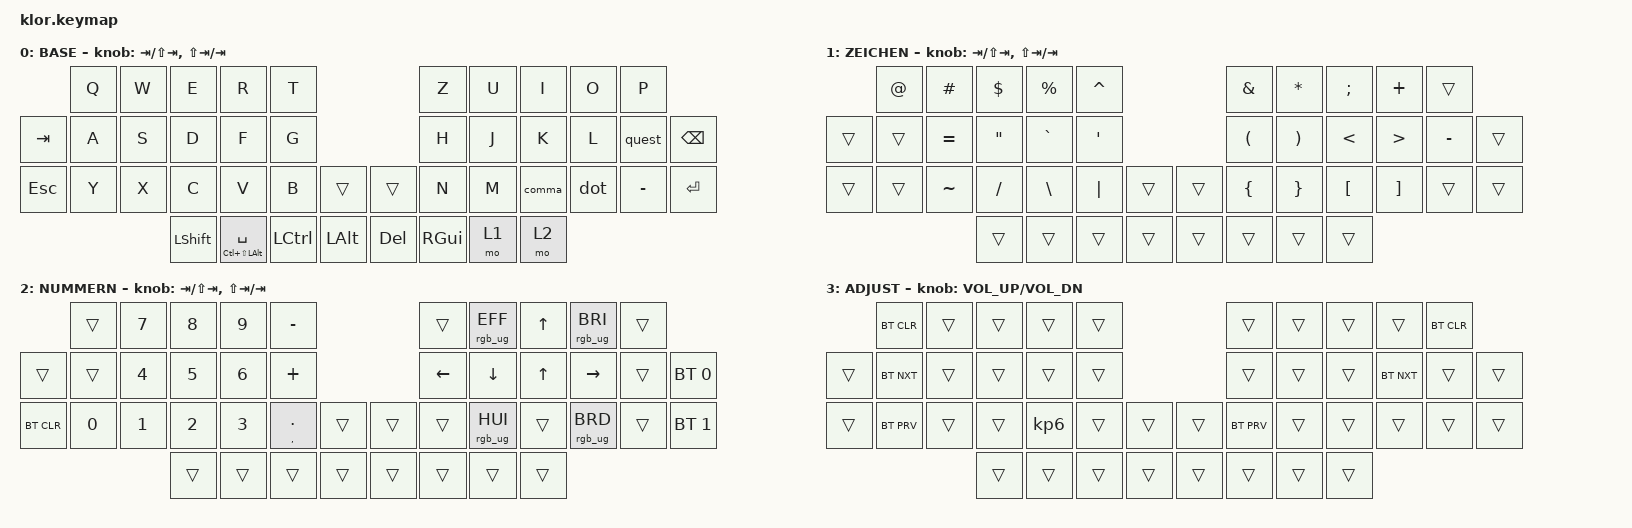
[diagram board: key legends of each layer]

//                               █         █    █            ▄▄▄▀▀▀▀▀▀▄▄▄        █▀▀▀▀▀▀▀▀▀▀█
//                               █        █     █          ▄▀            ▀▄      █          █
//                               █       █      █        ▄▀                ▀▄    █          █
//                               █      █       █        █                  █    █          █
//                               █     █        █       █                    █   █          █
//                               █    █         █       █                    █   █▄▄▄▄▄▄▄▄▄▄█
//                               █   █ █        █       █                    █   █      █
//                               █  █   █       █        █                  █    █       █
//                               █ █     █      █        ▀▄                ▄▀    █        █
//                               ██       █     █          ▀▄            ▄▀      █         █
//                               █         █    █▄▄▄▄▄▄▄▄    ▀▀▀▄▄▄▄▄▄▀▀▀        █          █
//
// ▄▄▄▄▄▄▄▄▄▄▄▄▄▄▄▄▄▄▄▄▄▄▄▄▄▄▄▄▄▄▄▄▄▄▄▄▄▄▄▄▄▄▄▄▄▄▄▄▄▄▄▄▄▄▄▄▄▄▄▄▄▄▄▄▄▄▄▄▄▄▄▄▄▄▄▄▄▄▄▄▄▄▄▄▄▄▄▄▄▄▄▄▄▄▄▄▄▄▄▄▄▄▄▄▄▄▄▄▄▄▄▄▄▄▄▄▄▄▄▄▄▄▄▄▄
       
#include <behaviors.dtsi>
#include <dt-bindings/zmk/keys.h>
#include <dt-bindings/zmk/bt.h>
#include <dt-bindings/zmk/outputs.h>
#include <dt-bindings/zmk/ext_power.h>
#include <dt-bindings/zmk/rgb.h>


#define BASE   0
#define LOWER  1
#define RAISE  2
#define ADJUST 3


/ {
    behaviors {
               hm: homerow_mods {
            compatible = "zmk,behavior-hold-tap";
            label = "HOMEROW_MODS";
            #binding-cells = <2>;
            tapping-term-ms = <320>;
            quick-tap-ms = <0>;
            flavor = "tap-preferred";
            bindings = <&kp>, <&kp>;
        };
       comma: comma_semi {
            compatible = "zmk,behavior-mod-morph";
            label = "comma_semi";
            #binding-cells = <0>;
            bindings = <&kp COMMA>, <&kp SEMI>;
            mods = <(MOD_LSFT)>;
        };

        dot: dot_colon {
            compatible = "zmk,behavior-mod-morph";
            label = "dot_colon";
            #binding-cells = <0>;
            bindings = <&kp DOT>, <&kp COLON>;
            mods = <(MOD_LSFT)>;
        };

        quest: question_excl {
            compatible = "zmk,behavior-mod-morph";
            label = "question_excl";
            #binding-cells = <0>;
            bindings = <&kp QUESTION>, <&kp EXCL>;
            mods = <(MOD_LSFT)>;
        };

        ctlalt: control_alt {
            compatible = "zmk,behavior-mod-morph";
            label = "control_alt";
            #binding-cells = <0>;
            bindings = <&kp LEFT_CONTROL>, <&kp LEFT_ALT>;
            mods = <(MOD_RGUI)>;
        };

    };

     combos {
            compatible = "zmk,combos";
            combo_esc {
                timeout-ms = <50>;
                key-positions = <0 1>;
                bindings = <&kp ESC>;
            };
        
    };





        keymap {
                compatible = "zmk,keymap";
// ▄▄▄▄▄▄▄▄▄▄▄▄▄▄▄▄▄▄▄▄▄▄▄▄▄▄▄▄▄▄▄▄▄▄▄▄▄▄▄▄▄▄▄▄▄▄▄▄▄▄▄▄▄▄▄▄▄▄▄▄▄▄▄▄▄▄▄▄▄▄▄▄▄▄▄▄▄▄▄▄▄▄▄▄▄▄▄▄▄▄▄▄▄▄▄▄▄▄▄▄▄▄▄▄▄▄▄▄▄▄▄▄▄▄▄▄▄▄▄▄▄▄▄▄▄▄▄▄▄▄▄▄▄▄▄▄▄▄▄▄▄▄


                base_layer {
// ┌───────────────────────────────────────────────────────────┐
label= "BASE"                                                  ;
// └───────────────────────────────────────────────────────────┘

 bindings = <
 //╷         ╷         ╷         ╷         ╷                       ╷                       ╷           ╷╷         ╷            ╷             ╷         ╷          ╷          ╷         ╷
              &kp Q     &kp W     &kp E     &kp R                   &kp T                                          &kp Z        &kp U         &kp I     &kp O      &kp P
    &kp TAB   &kp A     &kp S     &kp D     &kp F                   &kp G                                          &kp H        &kp J         &kp K     &kp L      &quest     &kp BSPC
    &kp ESC   &kp Y     &kp X     &kp C     &kp V                   &kp B                   &trans       &trans    &kp N        &kp M         &comma    &dot       &kp MINUS  &kp RET
                                  &kp LSHFT &hm LC(LS(LALT)) SPACE  &kp LCTRL               &kp LALT     &kp DEL   &kp RGUI     &mo 1         &mo 2     
                        >;
            sensor-bindings = <&inc_dec_kp TAB LS(TAB) &inc_dec_kp LS(TAB) TAB>;
                };

// ▄▄▄▄▄▄▄▄▄▄▄▄▄▄▄▄▄▄▄▄▄▄▄▄▄▄▄▄▄▄▄▄▄▄▄▄▄▄▄▄▄▄▄▄▄▄▄▄▄▄▄▄▄▄▄▄▄▄▄▄▄▄▄▄▄▄▄▄▄▄▄▄▄▄▄▄▄▄▄▄▄▄▄▄▄▄▄▄▄▄▄▄▄▄▄▄▄▄▄▄▄▄▄▄▄▄▄▄▄▄▄▄▄▄▄▄▄▄▄▄▄▄▄▄▄▄▄▄▄▄▄▄▄▄▄▄▄▄▄▄▄▄


                signs_layer {
// ┌───────────────────────────────────────────────────────────┐
label= "ZEICHEN"                                                 ;
// └───────────────────────────────────────────────────────────┘

 bindings = <
 //╷        ╷            ╷          ╷           ╷             ╷            ╷        ╷╷         ╷         ╷         ╷         ╷         ╷         ╷         ╷
             &kp AT_SIGN  &kp HASH   &kp DOLLAR  &kp PERCENT   &kp CARET                        &kp AMPS  &kp STAR  &kp SEMI  &kp PLUS  &trans
    &trans   &trans       &kp EQUAL  &kp DQT     &kp GRAVE     &kp SQT                          &kp LPAR  &kp RPAR  &kp LT    &kp GT    &kp MINUS &trans
    &trans   &trans       &kp TILDE  &kp SLASH   &kp BSLH      &kp PIPE     &trans    &trans    &kp LBRC  &kp RBRC  &kp LBKT  &kp RBKT  &trans    &trans
                                     &trans      &trans        &trans       &trans    &trans    &trans    &trans    &trans  
                        >;
            sensor-bindings = <&inc_dec_kp TAB LS(TAB) &inc_dec_kp LS(TAB) TAB>;
                };

// ▄▄▄▄▄▄▄▄▄▄▄▄▄▄▄▄▄▄▄▄▄▄▄▄▄▄▄▄▄▄▄▄▄▄▄▄▄▄▄▄▄▄▄▄▄▄▄▄▄▄▄▄▄▄▄▄▄▄▄▄▄▄▄▄▄▄▄▄▄▄▄▄▄▄▄▄▄▄▄▄▄▄▄▄▄▄▄▄▄▄▄▄▄▄▄▄▄▄▄▄▄▄▄▄▄▄▄▄▄▄▄▄▄▄▄▄▄▄▄▄▄▄▄▄▄


                num_layer {
// ┌───────────────────────────────────────────────────────────┐
label= "NUMMERN"                                                 ;
// └───────────────────────────────────────────────────────────┘

 bindings = <
 //╷         ╷       ╷       ╷       ╷       ╷              ╷         ╷╷         ╷         ╷                 ╷       ╷                ╷         ╷         ╷
              &trans  &kp N7  &kp N8  &kp N9  &kp MINUS                           &trans    &rgb_ug RGB_EFF   &kp UP  &rgb_ug RGB_BRI  &trans         
    &trans    &trans  &kp N4  &kp N5  &kp N6  &kp PLUS                            &kp LEFT  &kp DOWN          &kp UP  &kp RIGHT        &trans    &bt BT_SEL 0  
    &bt BT_CLR    &kp N0  &kp N1  &kp N2  &kp N3  &mt COMMA DOT  &trans     &trans    &trans    &rgb_ug RGB_HUI   &trans  &rgb_ug RGB_BRD  &trans    &bt BT_SEL 1
                              &trans  &trans  &trans         &trans     &trans    &trans    &trans            &trans  
                        >;
            sensor-bindings = <&inc_dec_kp TAB LS(TAB) &inc_dec_kp LS(TAB) TAB>;
                };

// ▄▄▄▄▄▄▄▄▄▄▄▄▄▄▄▄▄▄▄▄▄▄▄▄▄▄▄▄▄▄▄▄▄▄▄▄▄▄▄▄▄▄▄▄▄▄▄▄▄▄▄▄▄▄▄▄▄▄▄▄▄▄▄▄▄▄▄▄▄▄▄▄▄▄▄▄▄▄▄▄▄▄▄▄▄▄▄▄▄▄▄▄▄▄▄▄▄▄▄▄▄▄▄▄▄▄▄▄▄▄▄▄▄▄▄▄▄▄▄▄▄▄▄▄▄


                adjust_layer {
// ┌───────────────────────────────────────────────────────────┐
label= "ADJUST"                                                ;
// └───────────────────────────────────────────────────────────┘
/*           ┌─────────┬─────────┬─────────┬─────────┬─────────┐                    ┌─────────┬─────────┬─────────┬─────────┬─────────┐
             │         │         │         │         │         │                    │         │         │         │         │         │
   ┌─────────┼─────────┼─────────┼─────────┼─────────┼─────────┤                    ├─────────┼─────────┼─────────┼─────────┼─────────┼─────────┐
   │         │         │         │         │         │         │                    │         │         │         │         │         │         │
   ├─────────┼─────────┼─────────┼─────────┼─────────┼─────────┤╭────────╮╭────────╮├─────────┼─────────┼─────────┼─────────┼─────────┼─────────┤
   │         │         │         │         │         │         ││        ││        ││         │         │         │         │         │         │
   └─────────┴─────────┴─────────┼─────────┼─────────┼─────────┼╰────────╯╰────────╯┼─────────┼─────────┼─────────┼─────────┴─────────┴─────────┘
                                 │         │         │         │         ││         │         │         │         │  
                                 └─────────┴─────────┴─────────┴─────────┘└─────────┴─────────┴─────────┴─────────┘ */ 
 bindings = <
 //╷         ╷         ╷         ╷         ╷         ╷         ╷         ╷╷         ╷         ╷         ╷         ╷         ╷         ╷         ╷
             &bt BT_CLR &trans    &trans    &trans    &trans                         &trans    &trans    &trans    &trans    &bt BT_CLR   
    &trans   &bt BT_NXT &trans    &trans    &trans    &trans                         &trans    &trans    &trans    &bt BT_NXT &trans   &trans 
    &trans   &bt BT_PRV &trans    &trans    &kp KP_N6 &trans    &trans     &trans    &bt BT_PRV &trans   &trans    &trans    &trans    &trans    
                                  &trans    &trans    &trans    &trans     &trans    &trans    &trans    &trans    
                        >;
            sensor-bindings = <&inc_dec_kp C_VOL_UP C_VOL_DN>;
                };
        };
};
